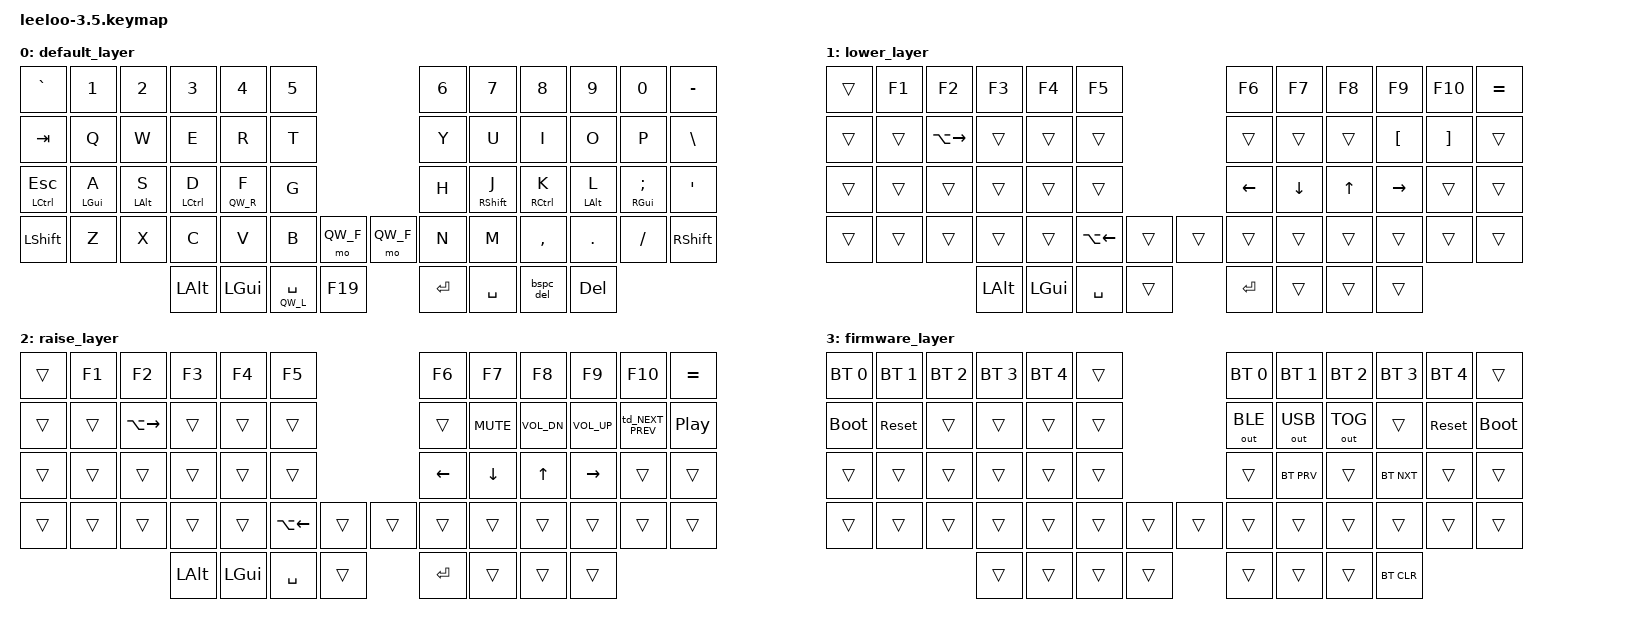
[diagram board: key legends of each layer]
/*
 * Copyright (c) 2020 The ZMK Contributors
 *
 * SPDX-License-Identifier: MIT
 *
 * Target: Zephyr 3.5 / ZMK v0.3 (compatible with Joey's seth_left/right builds)
 * Board:  nice_nano (nRF52840)
 * Shield: leeloo_left / leeloo_right
 *
 * Key count per layer: 58 (12+12+12+14+8)
 *   Rows 0-2: 6 left + 6 right = 12 each
 *   Row 3:    6 left + 1 inner left + 1 inner right + 6 right = 14
 *   Thumb:    4 left + 4 right = 8
 *
 * Differences from leeloo.keymap (Zephyr 4.1):
 *   - Includes `label` on all behaviors (required in older ZMK)
 *   - No `display-name` on layers (not yet supported)
 *   - Otherwise identical layout and functionality
 */

#include <behaviors.dtsi>
#include <dt-bindings/zmk/keys.h>
#include <dt-bindings/zmk/bt.h>
#include <dt-bindings/zmk/outputs.h>


// ( LAYERS ) ------------------------------------------------------------------
#define QW_L    1       // Lower
#define QW_R    2       // Raise
#define QW_F    3       // Firmware

// ( MACROS ) ------------------------------------------------------------------
#define WLEFT  LA(LEFT)
#define WRIGHT LA(RIGHT)

/ {
  conditional_layers {
    compatible = "zmk,conditional-layers";
    firmware_combo {
      if-layers = <QW_L QW_R>;
      then-layer = <QW_F>;
    };
  };

  behaviors {
    // Ctrl/Esc hold-tap
    qm: qwerty_mods {
      compatible = "zmk,behavior-hold-tap";
      label = "QWERTY_MODS";
      #binding-cells = <2>;
      tapping-term-ms = <200>;
      quick-tap-ms = <0>;
      flavor = "tap-preferred";
      bindings = <&kp>, <&kp>;
    };

    // Backspace normally, Delete when Ctrl is held
    bspc_del: backspace_delete {
      compatible = "zmk,behavior-mod-morph";
      label = "BACKSPACE_DELETE";
      #binding-cells = <0>;
      bindings = <&kp BSPC>, <&kp DEL>;
      mods = <(MOD_LCTL|MOD_RCTL)>;
    };

    // ========== HOMEROW MODS (Timeless Configuration) ==========
    // Left hand - trigger only on RIGHT side keypresses
    hml: home_row_mod_left {
      compatible = "zmk,behavior-hold-tap";
      label = "HML";
      #binding-cells = <2>;
      flavor = "balanced";
      tapping-term-ms = <280>;
      quick-tap-ms = <175>;
      require-prior-idle-ms = <150>;
      bindings = <&kp>, <&kp>;
      // Right side: row0-2 right (6-11,18-23,30-35) + row3 inner-right+right (43-49) + thumb right (54-57)
      hold-trigger-key-positions = <6 7 8 9 10 11 18 19 20 21 22 23 30 31 32 33 34 35 43 44 45 46 47 48 49 54 55 56 57>;
      hold-trigger-on-release;
    };

    // Right hand - trigger only on LEFT side keypresses
    hmr: home_row_mod_right {
      compatible = "zmk,behavior-hold-tap";
      label = "HMR";
      #binding-cells = <2>;
      flavor = "balanced";
      tapping-term-ms = <280>;
      quick-tap-ms = <175>;
      require-prior-idle-ms = <150>;
      bindings = <&kp>, <&kp>;
      // Left side: row0-2 left (0-5,12-17,24-29) + row3 left+inner-left (36-42) + thumb left (50-53)
      hold-trigger-key-positions = <0 1 2 3 4 5 12 13 14 15 16 17 24 25 26 27 28 29 36 37 38 39 40 41 42 50 51 52 53>;
      hold-trigger-on-release;
    };

    td_NEXT_PREV: tap_dance_0 {
      compatible = "zmk,behavior-tap-dance";
      label = "NEXT_PREV";
      #binding-cells = <0>;
      tapping-term-ms = <200>;
      bindings = <&kp C_NEXT>, <&kp C_PREV>;
    };
  };

  keymap {
    compatible = "zmk,keymap";

    default_layer {                                                                   // Layer 0
      // HOMEROW MODS (GACS): A=Gui, S=Alt, D=Ctrl | J=Shift, K=Ctrl, L=Alt, ;=Gui
      bindings = <                                                                    // 58 keys
&kp GRAV        &kp N1       &kp N2       &kp N3        &kp N4        &kp N5                                  &kp N6       &kp N7        &kp N8         &kp N9        &kp N0         &kp MINUS
&kp TAB         &kp Q        &kp W        &kp E         &kp R         &kp T                                   &kp Y        &kp U         &kp I          &kp O         &kp P          &kp BSLH
&qm LCTRL ESC   &hml LGUI A  &hml LALT S  &hml LCTRL D  &lt QW_R F    &kp G                                   &kp H        &hmr RSHFT J  &hmr RCTRL K   &hmr LALT L   &hmr RGUI SEMI &kp SQT
&kp LSHFT       &kp Z        &kp X        &kp C         &kp V         &kp B      &mo QW_F       &mo QW_F      &kp N        &kp M         &kp COMMA      &kp DOT       &kp FSLH       &kp RSHFT
                                           &kp LALT      &kp LGUI      &lt QW_L SPACE  &kp F19           &kp RET      &kp SPACE     &bspc_del      &kp DEL
      >;
    };

    lower_layer {                                                                     // Layer 1
      bindings = <                                                                    // 58 keys
&trans          &kp F1       &kp F2       &kp F3        &kp F4        &kp F5                                   &kp F6       &kp F7        &kp F8         &kp F9        &kp F10        &kp EQUAL
&trans          &trans       &kp WRIGHT   &trans        &trans        &trans                                   &trans       &trans        &trans         &kp LBKT      &kp RBKT       &trans
&trans          &trans       &trans       &trans        &trans        &trans                                   &kp LEFT     &kp DOWN      &kp UP         &kp RIGHT     &trans         &trans
&trans          &trans       &trans       &trans        &trans        &kp WLEFT    &trans         &trans        &trans       &trans        &trans         &trans        &trans         &trans
                                          &kp LALT      &kp LGUI      &kp SPACE    &trans                &kp RET      &trans        &trans         &trans
      >;
    };

    raise_layer {                                                                     // Layer 2
      bindings = <                                                                    // 58 keys
&trans          &kp F1       &kp F2       &kp F3        &kp F4        &kp F5                                   &kp F6       &kp F7        &kp F8         &kp F9        &kp F10        &kp EQUAL
&trans          &trans       &kp WRIGHT   &trans        &trans        &trans                                   &trans       &kp C_MUTE    &kp C_VOL_DN   &kp C_VOL_UP  &td_NEXT_PREV  &kp C_PLAY_PAUSE
&trans          &trans       &trans       &trans        &trans        &trans                                   &kp LEFT     &kp DOWN      &kp UP         &kp RIGHT     &trans         &trans
&trans          &trans       &trans       &trans        &trans        &kp WLEFT    &trans         &trans        &trans       &trans        &trans         &trans        &trans         &trans
                                          &kp LALT      &kp LGUI      &kp SPACE    &trans                &kp RET      &trans        &trans         &trans
      >;
    };

    firmware_layer {                                                                  // Layer 3
      bindings = <                                                                    // 58 keys
&bt BT_SEL 0  &bt BT_SEL 1 &bt BT_SEL 2 &bt BT_SEL 3 &bt BT_SEL 4 &trans                                    &bt BT_SEL 0 &bt BT_SEL 1 &bt BT_SEL 2 &bt BT_SEL 3 &bt BT_SEL 4 &trans
&bootloader   &sys_reset   &trans       &trans       &trans       &trans                                    &out OUT_BLE &out OUT_USB &out OUT_TOG &trans       &sys_reset   &bootloader
&trans        &trans       &trans       &trans       &trans       &trans                                    &trans       &bt BT_PRV   &trans       &bt BT_NXT   &trans       &trans
&trans        &trans       &trans       &trans       &trans       &trans         &trans         &trans       &trans       &trans       &trans       &trans       &trans       &trans
                                        &trans       &trans       &trans         &trans                &trans       &trans       &trans       &bt BT_CLR
      >;
    };
  };
};


// vim:ft=devicetree:ts=2:sts=2:sw=2
